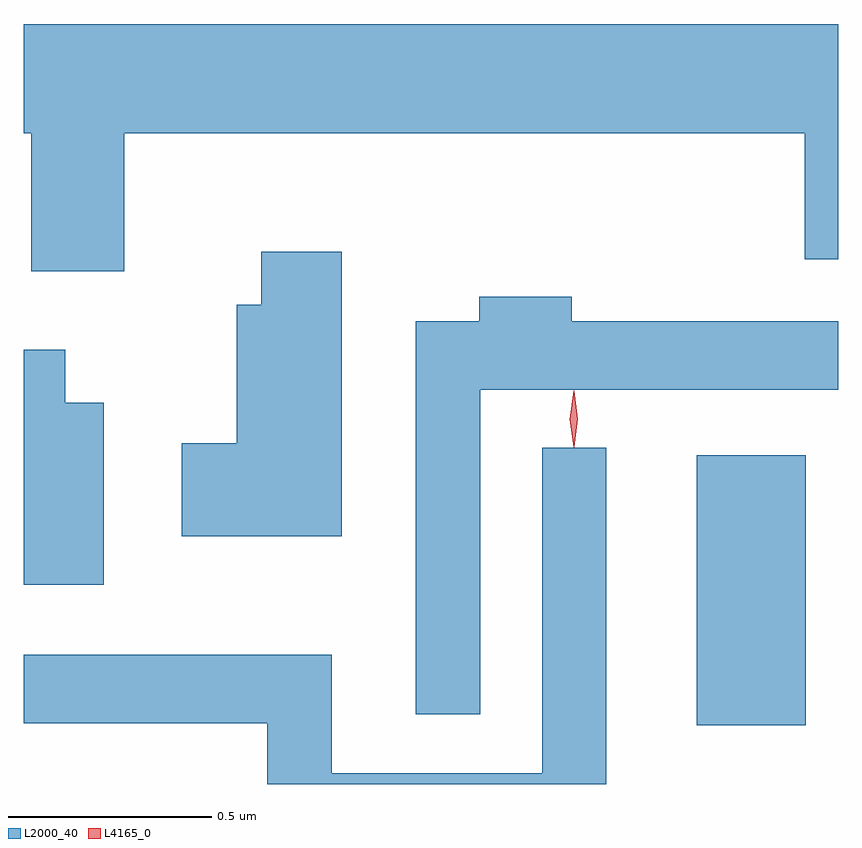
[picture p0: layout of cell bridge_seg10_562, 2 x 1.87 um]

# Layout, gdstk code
import gdstk
lib = gdstk.Library(unit=1e-6, precision=1e-09)
def R(c, l, rs):  # rectangles x0, y0, x1, y1
    for r in rs: c.add(gdstk.rectangle(r[:2], r[2:], *l))
def P(c, l, *ps):  # polygons
    for p in ps: c.add(gdstk.Polygon(p, *l))
L2000_40 = (2000, 40)
L4165_0 = (4165, 0)

bridge_seg10_562 = lib.new_cell('bridge_seg10_562')
R(bridge_seg10_562, L2000_40, [(803.556,2172.401,803.824,2173.064)])
P(bridge_seg10_562, L2000_40, [(802.149,2173.856),(803.821,2173.856),(803.821,2173.546),(803.903,2173.546),(803.903,2174.124),(801.903,2174.124),(801.903,2173.856),(801.921,2173.856),(801.921,2173.516),(802.149,2173.516)],
  [(802.684,2173.564),(802.486,2173.564),(802.486,2173.434),(802.426,2173.434),(802.426,2173.094),(802.291,2173.094),(802.291,2172.866),(802.684,2172.866)],
  [(803.024,2173.226),(803.903,2173.226),(803.903,2173.394),(803.249,2173.394),(803.249,2173.454),(803.021,2173.454),(803.021,2173.394),(802.866,2173.394),(802.866,2172.428),(803.024,2172.428)],
  [(802.099,2173.194),(802.004,2173.194),(802.004,2173.324),(801.903,2173.324),(801.903,2172.746),(802.099,2172.746)],
  [(803.334,2173.083),(803.176,2173.083),(803.176,2172.284),(802.659,2172.284),(802.659,2172.574),(801.903,2172.574),(801.903,2172.406),(802.501,2172.406),(802.501,2172.257),(803.334,2172.257)])
P(bridge_seg10_562, L4165_0, [(803.254,2173.084),(803.254,2173.084),(803.244,2173.153),(803.254,2173.223),(803.254,2173.223),(803.255,2173.223),(803.264,2173.153),(803.255,2173.084)])

lib.write_gds('bridge_seg10_562.gds')
